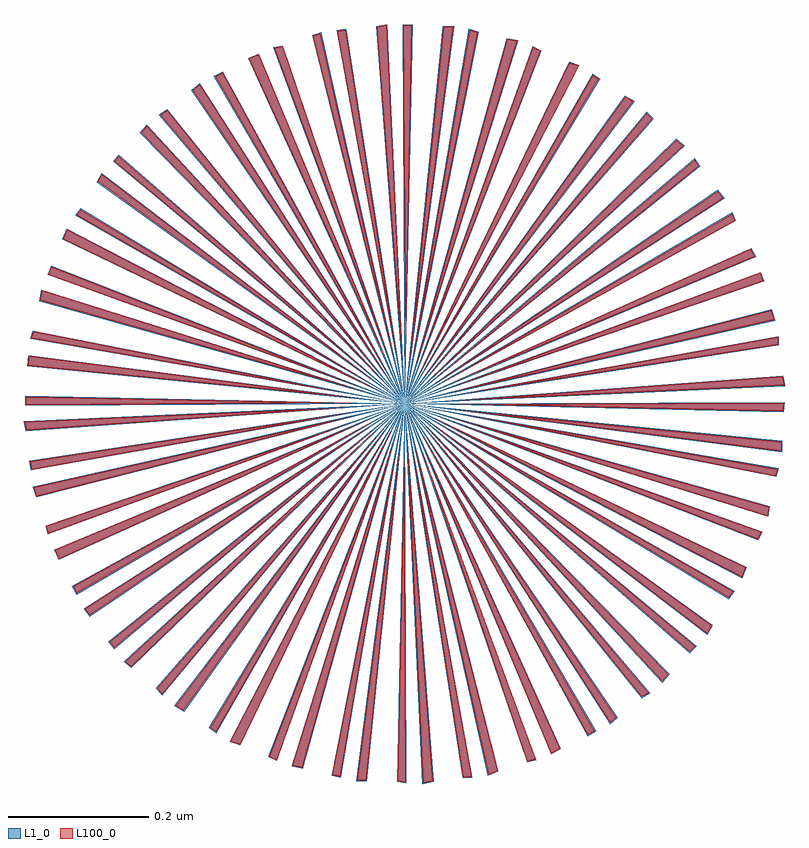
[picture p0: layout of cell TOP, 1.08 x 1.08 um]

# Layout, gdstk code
import gdstk
lib = gdstk.Library(unit=1e-6, precision=1e-09)
def P(c, l, *ps):  # polygons
    for p in ps: c.add(gdstk.Polygon(p, *l))
L1_0 = (1, 0)
L100_0 = (100, 0)

top = lib.new_cell('TOP')
P(top, L1_0, [(-0.837,2.215),(-0.84,2.227),(-0.329,2.401)],
  [(-0.329,2.401),(0.203,2.497),(0.203,2.484)],
  [(-0.821,2.179),(-0.828,2.193),(-0.329,2.401)],
  [(-0.329,2.401),(-0.552,2.892),(-0.537,2.899)],
  [(-0.329,2.401),(-0.37,2.938),(-0.354,2.941)],
  [(-0.247,1.868),(-0.329,2.401),(-0.233,1.869)],
  [(-0.329,2.401),(-0.862,2.493),(-0.858,2.505)],
  [(-0.329,2.401),(-0.516,2.908),(-0.503,2.91)],
  [(-0.329,2.401),(0.083,2.75),(0.091,2.739)],
  [(-0.329,2.401),(-0.633,2.847),(-0.621,2.857)],
  [(-0.329,2.401),(-0.767,2.716),(-0.76,2.729)],
  [(-0.329,2.401),(0.209,2.441),(0.212,2.426)],
  [(-0.329,2.401),(0.193,2.535),(0.198,2.519)],
  [(-0.42,1.869),(-0.433,1.872),(-0.329,2.401)],
  [(-0.121,1.902),(-0.329,2.401),(-0.107,1.91)],
  [(-0.155,1.891),(-0.329,2.401),(-0.142,1.894)],
  [(-0.329,2.401),(0.164,2.622),(0.171,2.61)],
  [(-0.329,2.401),(-0.798,2.669),(-0.79,2.679)],
  [(0.101,2.072),(-0.329,2.401),(0.109,2.086)],
  [(-0.037,1.945),(-0.329,2.401),(-0.026,1.954)],
  [(-0.853,2.268),(-0.858,2.283),(-0.329,2.401)],
  [(0.208,2.332),(-0.329,2.401),(0.208,2.348)],
  [(-0.329,2.401),(0.057,2.778),(0.069,2.768)],
  [(-0.329,2.401),(-0.184,2.921),(-0.168,2.918)],
  [(-0.868,2.362),(-0.871,2.376),(-0.329,2.401)],
  [(-0.742,2.052),(-0.751,2.062),(-0.329,2.401)],
  [(-0.069,1.928),(-0.329,2.401),(-0.057,1.935)],
  [(-0.304,1.86),(-0.329,2.401),(-0.288,1.863)],
  [(-0.329,2.401),(-0.238,2.934),(-0.224,2.93)],
  [(-0.329,2.401),(0.116,2.705),(0.126,2.693)],
  [(0.199,2.297),(-0.329,2.401),(0.203,2.309)],
  [(-0.329,2.401),(-0.016,2.839),(-0.002,2.831)],
  [(-0.327,1.861),(-0.34,1.863),(-0.329,2.401)],
  [(-0.329,2.401),(-0.601,2.867),(-0.588,2.873)],
  [(-0.474,1.882),(-0.49,1.885),(-0.329,2.401)],
  [(-0.511,1.893),(-0.523,1.899),(-0.329,2.401)],
  [(-0.329,2.401),(0.177,2.588),(0.182,2.575)],
  [(-0.329,2.401),(-0.461,2.925),(-0.448,2.929)],
  [(-0.329,2.401),(-0.816,2.635),(-0.81,2.65)],
  [(-0.329,2.401),(-0.147,2.909),(-0.135,2.903)],
  [(0.037,2.004),(-0.329,2.401),(0.048,2.016)],
  [(-0.597,1.932),(-0.608,1.94),(-0.329,2.401)],
  [(-0.674,1.986),(-0.683,1.996),(-0.329,2.401)],
  [(-0.329,2.401),(-0.275,2.938),(-0.259,2.938)],
  [(-0.777,2.098),(-0.786,2.109),(-0.329,2.401)],
  [(-0.329,2.401),(-0.837,2.584),(-0.832,2.597)],
  [(-0.563,1.915),(-0.578,1.92),(-0.329,2.401)],
  [(-0.796,2.129),(-0.803,2.141),(-0.329,2.401)],
  [(0.151,2.153),(-0.329,2.401),(0.157,2.168)],
  [(0.076,2.046),(-0.329,2.401),(0.086,2.056)],
  [(-0.329,2.401),(-0.095,2.887),(-0.081,2.882)],
  [(-0.329,2.401),(-0.679,2.812),(-0.667,2.82)],
  [(-0.329,2.401),(-0.866,2.454),(-0.865,2.47)],
  [(-0.329,2.401),(-0.426,2.932),(-0.412,2.934)],
  [(-0.718,2.025),(-0.729,2.034),(-0.329,2.401)],
  [(-0.211,1.872),(-0.329,2.401),(-0.196,1.878)],
  [(-0.869,2.398),(-0.869,2.412),(-0.329,2.401)],
  [(-0.861,2.306),(-0.863,2.32),(-0.329,2.401)],
  [(-0.329,2.401),(-0.062,2.87),(-0.051,2.863)],
  [(0.188,2.24),(-0.329,2.401),(0.19,2.255)],
  [(-0.329,2.401),(-0.332,2.941),(-0.318,2.94)],
  [(0.132,2.123),(-0.329,2.401),(0.14,2.134)],
  [(-0.643,1.963),(-0.657,1.971),(-0.329,2.401)],
  [(-0.329,2.401),(-0.706,2.786),(-0.696,2.798)],
  [(-0.329,2.401),(-0.744,2.746),(-0.736,2.755)],
  [(0.21,2.389),(-0.329,2.401),(0.211,2.403)],
  [(0.008,1.982),(-0.329,2.401),(0.02,1.989)],
  [(0.174,2.207),(-0.329,2.401),(0.179,2.219)],
  [(-0.329,2.401),(0.015,2.816),(0.025,2.806)],
  [(-0.329,2.401),(-0.849,2.547),(-0.846,2.563)],
  [(-0.398,1.864),(-0.329,2.401),(-0.383,1.864)],
  [(-0.329,2.401),(0.137,2.673),(0.142,2.661)])
P(top, L100_0, [(-0.264,2.43),(0.163,2.621),(0.169,2.61)],
  [(-0.563,1.916),(-0.577,1.92),(-0.577,1.921),(-0.35,2.359)],
  [(-0.121,1.903),(-0.3,2.334),(-0.108,1.91)],
  [(-0.512,1.894),(-0.522,1.899),(-0.355,2.331),(-0.511,1.894)],
  [(-0.333,2.467),(-0.369,2.937),(-0.355,2.94)],
  [(-0.357,2.466),(-0.551,2.892),(-0.537,2.898)],
  [(-0.269,2.416),(0.192,2.534),(0.197,2.52)],
  [(-0.307,2.446),(-0.095,2.886),(-0.082,2.882),(-0.082,2.881)],
  [(-0.356,2.448),(-0.599,2.867),(-0.588,2.872)],
  [(-0.21,1.873),(-0.314,2.338),(-0.197,1.879),(-0.197,1.878)],
  [(-0.281,2.44),(0.083,2.748),(0.089,2.739)],
  [(-0.276,2.431),(0.137,2.671),(0.141,2.661)],
  [(-0.421,1.87),(-0.432,1.873),(-0.343,2.324)],
  [(-0.867,2.363),(-0.87,2.375),(-0.404,2.396)],
  [(-0.347,2.476),(-0.46,2.924),(-0.449,2.928)],
  [(-0.321,2.467),(-0.274,2.937),(-0.26,2.937)],
  [(-0.375,2.435),(-0.766,2.717),(-0.76,2.727)],
  [(-0.382,2.432),(-0.796,2.669),(-0.79,2.677)],
  [(-0.383,2.447),(-0.742,2.746),(-0.736,2.753)],
  [(-0.069,1.93),(-0.302,2.352),(-0.059,1.935)],
  [(0.198,2.298),(-0.247,2.386),(0.202,2.308)],
  [(-0.299,2.442),(-0.015,2.838),(-0.004,2.831)],
  [(-0.742,2.054),(-0.749,2.062),(-0.377,2.361)],
  [(-0.868,2.399),(-0.868,2.411),(-0.405,2.402)],
  [(-0.037,1.947),(-0.297,2.352),(-0.028,1.954)],
  [(-0.316,2.472),(-0.237,2.933),(-0.225,2.929)],
  [(0.187,2.241),(-0.263,2.381),(0.189,2.254)],
  [(-0.342,2.474),(-0.425,2.931),(-0.413,2.933)],
  [(-0.358,2.445),(-0.631,2.847),(-0.621,2.855)],
  [(-0.311,2.462),(-0.183,2.92),(-0.169,2.917)],
  [(-0.328,1.862),(-0.339,1.864),(-0.33,2.319)],
  [(-0.597,1.934),(-0.606,1.94),(-0.358,2.351)],
  [(0.008,1.984),(-0.29,2.354),(0.018,1.989)],
  [(-0.475,1.883),(-0.489,1.886),(-0.347,2.341)],
  [(-0.355,2.474),(-0.515,2.907),(-0.504,2.909),(-0.503,2.909)],
  [(0.151,2.154),(-0.288,2.381),(0.156,2.168)],
  [(0.132,2.125),(-0.279,2.372),(0.138,2.134)],
  [(-0.328,2.477),(-0.331,2.94),(-0.319,2.939)],
  [(-0.718,2.027),(-0.727,2.034),(-0.373,2.36)],
  [(-0.291,2.446),(0.015,2.814),(0.023,2.806)],
  [(0.173,2.208),(-0.257,2.374),(0.178,2.219),(0.178,2.218),(0.174,2.208)],
  [(-0.836,2.216),(-0.839,2.226),(-0.839,2.227),(-0.406,2.373)],
  [(-0.303,1.861),(-0.325,2.335),(-0.289,1.864)],
  [(-0.39,2.419),(-0.848,2.548),(-0.845,2.562)],
  [(-0.248,2.415),(0.202,2.496),(0.202,2.485)],
  [(-0.644,1.964),(-0.655,1.971),(-0.359,2.36)],
  [(-0.259,2.405),(0.208,2.44),(0.211,2.427)],
  [(-0.366,2.44),(-0.704,2.786),(-0.696,2.796)],
  [(-0.674,1.988),(-0.681,1.996),(-0.37,2.353)],
  [(0.076,2.048),(-0.284,2.363),(0.084,2.056)],
  [(-0.299,2.453),(-0.062,2.868),(-0.053,2.863)],
  [(-0.396,2.426),(-0.836,2.584),(-0.836,2.585),(-0.832,2.596),(-0.831,2.596)],
  [(0.101,2.074),(-0.288,2.371),(0.108,2.085)],
  [(-0.796,2.131),(-0.801,2.141),(-0.378,2.374)],
  [(-0.853,2.269),(-0.857,2.282),(-0.393,2.385),(-0.852,2.269)],
  [(-0.261,2.425),(0.176,2.587),(0.177,2.587),(0.181,2.576),(0.181,2.575)],
  [(-0.86,2.307),(-0.862,2.319),(-0.403,2.389)],
  [(0.207,2.333),(-0.263,2.393),(0.207,2.347)],
  [(0.037,2.006),(-0.294,2.364),(0.046,2.016)],
  [(-0.155,1.892),(-0.303,2.33),(-0.143,1.895),(-0.154,1.892)],
  [(-0.366,2.446),(-0.677,2.812),(-0.667,2.818)],
  [(-0.397,1.865),(-0.337,2.33),(-0.384,1.865)],
  [(-0.246,1.869),(-0.316,2.327),(-0.234,1.87)],
  [(-0.29,2.438),(0.057,2.776),(0.067,2.768)],
  [(-0.395,2.409),(-0.865,2.455),(-0.864,2.469)],
  [(-0.303,2.471),(-0.147,2.908),(-0.146,2.908),(-0.136,2.903)],
  [(-0.37,2.421),(-0.815,2.635),(-0.81,2.649)],
  [(-0.777,2.1),(-0.784,2.109),(-0.378,2.369)],
  [(-0.412,2.416),(-0.861,2.494),(-0.857,2.504)],
  [(0.209,2.39),(-0.253,2.4),(0.21,2.402)],
  [(-0.285,2.43),(0.116,2.703),(0.124,2.693)],
  [(-0.821,2.18),(-0.827,2.193),(-0.386,2.376)])

lib.write_gds('TOP.gds')
